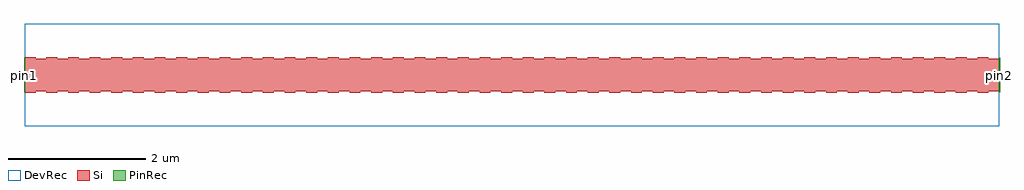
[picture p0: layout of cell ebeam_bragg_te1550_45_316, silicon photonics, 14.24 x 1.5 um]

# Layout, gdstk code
import gdstk
lib = gdstk.Library(unit=1e-6, precision=1e-09)
def R(c, l, rs):  # rectangles x0, y0, x1, y1
    for r in rs: c.add(gdstk.rectangle(r[:2], r[2:], *l))
def A(c, l, x, y, w, h, nx, ny, dx, dy):  # array of equal rectangles
    R(c, l, [(x+i*dx, y+j*dy, x+i*dx+w, y+j*dy+h) for i in range(nx) for j in range(ny)])
Si = (1, 0)
PinRec = (1, 10)
DevRec = (68, 0)

ebeam_bragg_te1550_45_31 = lib.new_cell('ebeam_bragg_te1550_45_316')
A(ebeam_bragg_te1550_45_31, Si, 0, -0.26, 0.158, 0.26, 45, 2, 0.316, 0.26)
A(ebeam_bragg_te1550_45_31, Si, 0.158, -0.24, 0.158, 0.24, 45, 2, 0.316, 0.24)
R(ebeam_bragg_te1550_45_31, DevRec, [(0,-0.75,14.22,0.75)])
ebeam_bragg_te1550_45_31.add(gdstk.FlexPath([(0.01,0),(-0.01,0)], 0.5, ends="flush", simple_path=True, layer=1, datatype=10))  # PinRec
ebeam_bragg_te1550_45_31.add(gdstk.FlexPath([(14.21,0),(14.23,0)], 0.5, ends="flush", simple_path=True, layer=1, datatype=10))  # PinRec
ebeam_bragg_te1550_45_31.add(gdstk.Label('pin1', (0,0), layer=1, texttype=10))
ebeam_bragg_te1550_45_31.add(gdstk.Label('pin2', (14.22,0), layer=1, texttype=10))
ebeam_bragg_te1550_45_31.add(gdstk.Label('Lumerical_INTERCONNECT_library=Design kits/ebeam', (0,0), layer=68, texttype=0))
ebeam_bragg_te1550_45_31.add(gdstk.Label('Component=ebeam_bragg_te1550', (1.422,0), layer=68, texttype=0))
ebeam_bragg_te1550_45_31.add(gdstk.Label('Spice_param:number_of_periods=45 grating_period=3.16e-07 corrugation_width=2e-08 misalignment=0 sinusoidal=0', (1.58,0), layer=68, texttype=0))

lib.write_gds('ebeam_bragg_te1550_45_316.gds')
